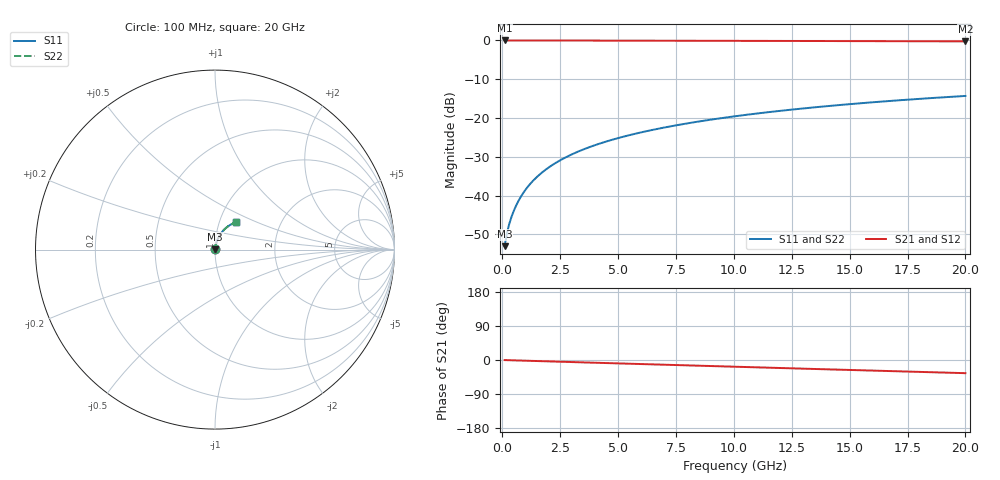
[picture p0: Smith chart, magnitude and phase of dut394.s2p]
! Touchstone file exported from HFSS 2026.1.0
!  File:  C:/ffzhzh/LocalFiles/Ansys_Project_Files/temp_train_TMRDL_394_1783004783_51716.aedt
!  Generated:  11:07:47 PM Jul  2, 2026
!  Design:  TMRDL
!  Project:  temp_train_TMRDL_394_1783004783_51716
! Variables:
!  h_bsmrdl = 2um
!  h_ox = 20um
!  h_rdl = 5um
!  h_sub = 80um
!  h_tmrdl = 4.68um
!  h_tsv = 80um
!  h_via = 3um
!  l_bsmrdl = 300um
!  l_sub = 965.79um
!  l_tmrdl = 565.79um
!  m_sub = 200um
!  pitch = 44.04um
!  r_tsv = 6um
!  s_tmrdl = 10um
!  w_bsmrdl = 18um
!  w_sub = 500um
!  w_tmrdl = 29.51um
!  x_tsv_center1 = 580.545um
!  x_tsv_center2 = 898.545um
!  x_tsv_center3 = 1493.845um
!  x_tsv_center4 = 1811.845um
!  x_tsv_center5 = 2407.145um
!  x_tsv_center6 = 2725.145um
# GHz S MA R 50.000000
! Terminal data exported
! Port[1] = TM_RDL1_1_T1
! Port[2] = TM_RDL1_1_T2
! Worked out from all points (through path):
!   200 points, 100 MHz to 20 GHz, reference 50 ohm
!   highest |S21| = -0.01 dB at 100 MHz (marker M1); lowest = -0.3 dB at 20 GHz (marker M2)
!   group delay of S21, straight-line fit = 4.81 ps
!   lowest |S11| = -53.0 dB at 100 MHz (marker M3), VSWR 1.00, Z = 50.2 + j0.142 ohm
!   |S11| at or under -10 dB: start of sweep to end of sweep
!   |S22| runs from -53.0 to -14.3 dB; largest |S21 - S12| = 2.7e-15
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0.1  0.002226 39.3  0.9983 -0.2  0.9983 -0.2  0.002226 39.3
! Gamma 0 0 0 0
! Port Impedance 50 0 50 0
0.2  0.003269 53.6  0.9981 -0.4  0.9981 -0.4  0.003269 53.6
0.3  0.004303 60.7  0.9979 -0.6  0.9979 -0.6  0.004303 60.7
0.4  0.005339 65.4  0.9978 -0.7  0.9978 -0.7  0.005339 65.4
0.5  0.006392 68.7  0.9978 -0.9  0.9978 -0.9  0.006392 68.7
0.6  0.007462 71.2  0.9977 -1.1  0.9977 -1.1  0.007462 71.2
0.8  0.009642 74.4  0.9976 -1.5  0.9976 -1.5  0.009642 74.4
1.1  0.01297 77.0  0.9974 -2.0  0.9974 -2.0  0.01297 77.0
1.3  0.01519 77.9  0.9973 -2.4  0.9973 -2.4  0.01519 77.9
1.6  0.01854 78.7  0.9971 -2.9  0.9971 -2.9  0.01854 78.7
2.1  0.02409 79.0  0.9967 -3.8  0.9967 -3.8  0.02409 79.0
2.7  0.03067 78.8  0.9961 -4.9  0.9961 -4.9  0.03067 78.8
3.5  0.03929 77.9  0.9953 -6.3  0.9953 -6.3  0.03929 77.9
4.2  0.04671 77.0  0.9945 -7.6  0.9945 -7.6  0.0467 77.0
5  0.05504 75.9  0.9936 -9.0  0.9936 -9.0  0.05504 75.9
5.9  0.06428 74.6  0.9925 -10.6  0.9925 -10.6  0.06427 74.6
6.8  0.07337 73.2  0.9914 -12.1  0.9914 -12.1  0.07337 73.2
8.3  0.08825 70.9  0.9894 -14.7  0.9894 -14.7  0.08825 70.9
10.1  0.1057 68.1  0.987 -17.9  0.987 -17.9  0.1057 68.2
13.4  0.1364 62.9  0.9822 -23.6  0.9822 -23.6  0.1364 62.9
16.7  0.1654 57.6  0.9769 -29.2  0.9769 -29.2  0.1654 57.7
20  0.1924 52.3  0.9713 -34.7  0.9713 -34.7  0.1923 52.4
